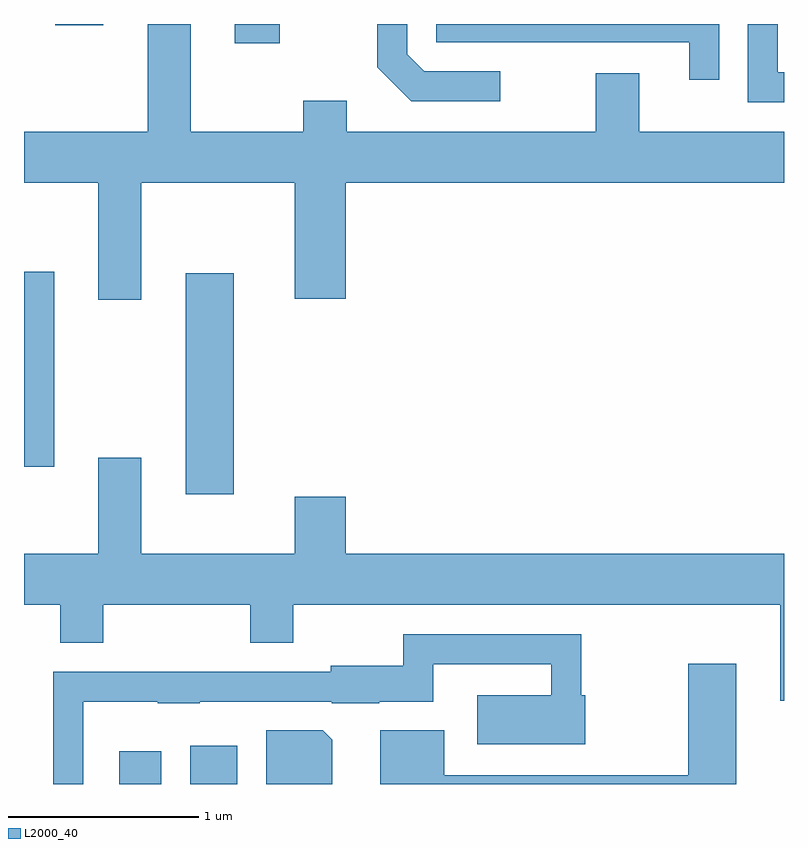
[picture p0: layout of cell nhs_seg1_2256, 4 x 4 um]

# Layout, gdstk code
import gdstk
lib = gdstk.Library(unit=1e-6, precision=1e-09)
def R(c, l, rs):  # rectangles x0, y0, x1, y1
    for r in rs: c.add(gdstk.rectangle(r[:2], r[2:], *l))
def P(c, l, *ps):  # polygons
    for p in ps: c.add(gdstk.Polygon(p, *l))
L2000_40 = (2000, 40)

nhs_seg1_2256 = lib.new_cell('nhs_seg1_2256')
R(nhs_seg1_2256, L2000_40, [(254.111,929.712,254.334,929.884), (254.486,929.712,254.734,929.914), (254.461,931.236,254.714,932.399), (253.611,931.381,253.769,932.409), (254.721,933.611,254.958,933.712), (253.776,933.706,254.029,933.712)])
P(nhs_seg1_2256, L2000_40, [(254.229,932.876),(255.036,932.876),(255.036,932.266),(255.304,932.266),(255.304,932.876),(257.611,932.876),(257.611,933.144),(256.849,933.144),(256.849,933.454),(256.621,933.454),(256.621,933.144),(255.309,933.144),(255.309,933.309),(255.081,933.309),(255.081,933.144),(254.489,933.144),(254.489,933.712),(254.261,933.712),(254.261,933.144),(253.611,933.144),(253.611,932.876),(254.001,932.876),(254.001,932.261),(254.229,932.261)],
  [(256.118,933.464),(255.717,933.464),(255.629,933.552),(255.629,933.712),(255.471,933.712),(255.471,933.484),(255.649,933.306),(256.118,933.306)],
  [(257.611,933.459),(257.579,933.459),(257.579,933.712),(257.421,933.712),(257.421,933.301),(257.611,933.301)],
  [(257.269,933.712),(255.781,933.712),(255.781,933.616),(257.111,933.616),(257.111,933.418),(257.269,933.418)],
  [(257.611,930.924),(255.304,930.924),(255.304,931.224),(255.036,931.224),(255.036,930.924),(254.229,930.924),(254.229,931.429),(254.001,931.429),(254.001,930.924),(253.611,930.924),(253.611,930.656),(253.801,930.656),(253.801,930.456),(254.029,930.456),(254.029,930.656),(254.801,930.656),(254.801,930.456),(255.029,930.456),(255.029,930.656),(257.591,930.656),(257.591,930.151),(257.611,930.151)],
  [(253.924,930.146),(254.315,930.146),(254.315,930.136),(254.535,930.136),(254.535,930.146),(255.23,930.146),(255.23,930.136),(255.48,930.136),(255.48,930.146),(255.764,930.146),(255.764,930.341),(256.386,930.341),(256.386,930.179),(255.996,930.179),(255.996,929.921),(256.564,929.921),(256.564,930.179),(256.544,930.179),(256.544,930.499),(255.606,930.499),(255.606,930.334),(255.226,930.334),(255.226,930.304),(253.766,930.304),(253.766,929.712),(253.924,929.712)],
  [(257.359,930.344),(257.106,930.344),(257.106,929.759),(255.824,929.759),(255.824,929.994),(255.486,929.994),(255.486,929.712),(257.359,929.712)],
  [(255.234,929.944),(255.184,929.994),(254.886,929.994),(254.886,929.712),(255.234,929.712)])

lib.write_gds('nhs_seg1_2256.gds')
